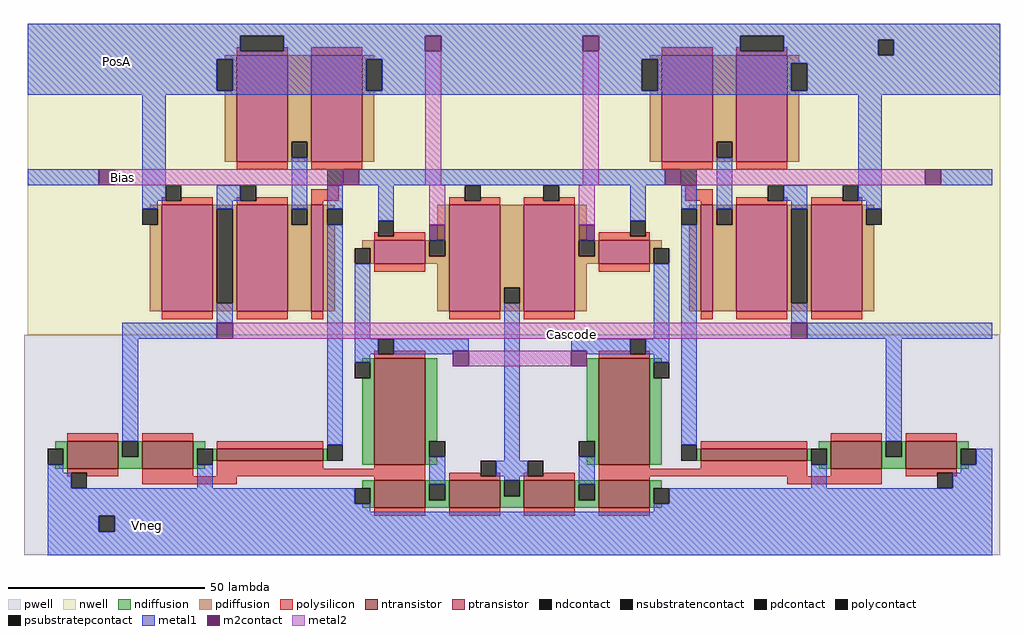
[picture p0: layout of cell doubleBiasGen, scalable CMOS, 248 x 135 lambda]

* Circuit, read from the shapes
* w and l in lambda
.subckt doubleBiasGen Bias Cascode PosA Vneg
M1 Cascode Vneg Vneg Vneg nfet w=7 l=13 m=2
M2 Vneg n1 Cascode Vneg nfet w=7 l=13 m=2
M3 Bias n1 Vneg Vneg nfet w=3 l=27 m=2
M4 n2 n1 Vneg Vneg nfet w=7 l=13
M5 n2 n1 n1 Vneg nfet w=27 l=13
M6 n3 n3 n2 Vneg nfet w=7 l=13
M7 n4 n3 n3 Vneg nfet w=7 l=13
M8 Vneg n1 n4 Vneg nfet w=7 l=13
M9 n1 n1 n4 Vneg nfet w=27 l=13
M10 Cascode PosA PosA PosA pfet w=27 l=13 m=2
M11 n5 Cascode Cascode PosA pfet w=27 l=13
M12 n5 PosA PosA PosA pfet w=27 l=13
M13 Bias Bias n5 PosA pfet w=27 l=3
M14 PosA Bias n5 PosA pfet w=27 l=13
M15 PosA Bias n1 PosA pfet w=6 l=13 m=2
M16 n3 Bias PosA PosA pfet w=27 l=13 m=2
M17 n6 Bias PosA PosA pfet w=27 l=13
M18 n6 Bias Bias PosA pfet w=27 l=3
M19 Cascode Cascode n6 PosA pfet w=27 l=13
M20 PosA PosA n6 PosA pfet w=27 l=13
.ends

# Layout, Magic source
magic
tech scmos
<< nwell >>
rect -28 -15 219 64
<< pwell >>
rect -29 -71 219 -15
<< ntransistor >>
rect -18 -49 -5 -42
rect 1 -49 14 -42
rect 20 -47 47 -44
rect 60 -48 73 -21
rect 117 -48 130 -21
rect 143 -47 170 -44
rect 176 -49 189 -42
rect 195 -49 208 -42
rect 60 -59 73 -52
rect 79 -59 92 -52
rect 98 -59 111 -52
rect 117 -59 130 -52
<< ptransistor >>
rect 25 29 38 56
rect 44 29 57 56
rect 133 29 146 56
rect 152 29 165 56
rect 6 -9 19 18
rect 25 -9 38 18
rect 44 -9 47 18
rect 60 3 73 9
rect 79 -9 92 18
rect 98 -9 111 18
rect 117 3 130 9
rect 143 -9 146 18
rect 152 -9 165 18
rect 171 -9 184 18
<< ndiffusion >>
rect 57 -22 60 -21
rect 59 -26 60 -22
rect -21 -44 -18 -42
rect -19 -48 -18 -44
rect -21 -49 -18 -48
rect -5 -46 -4 -42
rect 0 -46 1 -42
rect -5 -49 1 -46
rect 14 -44 17 -42
rect 14 -48 15 -44
rect 19 -47 20 -44
rect 47 -47 48 -44
rect 14 -49 17 -48
rect 57 -48 60 -26
rect 73 -42 76 -21
rect 114 -42 117 -21
rect 73 -46 74 -42
rect 116 -46 117 -42
rect 73 -48 76 -46
rect 114 -48 117 -46
rect 130 -22 133 -21
rect 130 -26 131 -22
rect 130 -48 133 -26
rect 173 -44 176 -42
rect 142 -47 143 -44
rect 170 -47 171 -44
rect 175 -48 176 -44
rect 173 -49 176 -48
rect 189 -46 190 -42
rect 194 -46 195 -42
rect 189 -49 195 -46
rect 208 -44 211 -42
rect 208 -48 209 -44
rect 208 -49 211 -48
rect 57 -54 60 -52
rect 59 -58 60 -54
rect 57 -59 60 -58
rect 73 -53 79 -52
rect 73 -57 74 -53
rect 78 -57 79 -53
rect 73 -59 79 -57
rect 92 -56 93 -52
rect 97 -56 98 -52
rect 92 -59 98 -56
rect 111 -53 117 -52
rect 111 -57 112 -53
rect 116 -57 117 -53
rect 111 -59 117 -57
rect 130 -54 133 -52
rect 130 -58 131 -54
rect 130 -59 133 -58
<< pdiffusion >>
rect 22 55 25 56
rect 24 47 25 55
rect 22 29 25 47
rect 38 34 44 56
rect 38 30 39 34
rect 43 30 44 34
rect 38 29 44 30
rect 57 55 60 56
rect 130 55 133 56
rect 57 47 58 55
rect 132 47 133 55
rect 57 29 60 47
rect 130 29 133 47
rect 146 34 152 56
rect 146 30 147 34
rect 151 30 152 34
rect 146 29 152 30
rect 165 54 168 56
rect 165 47 166 54
rect 165 29 168 47
rect 3 17 6 18
rect 5 13 6 17
rect 3 -9 6 13
rect 19 17 25 18
rect 19 -7 20 17
rect 24 -7 25 17
rect 19 -9 25 -7
rect 38 17 44 18
rect 38 13 39 17
rect 43 13 44 17
rect 38 -9 44 13
rect 47 17 50 18
rect 47 13 48 17
rect 47 -9 50 13
rect 76 9 79 18
rect 57 7 60 9
rect 59 3 60 7
rect 73 5 74 9
rect 78 5 79 9
rect 73 3 79 5
rect 76 -9 79 3
rect 92 -3 98 18
rect 92 -7 93 -3
rect 97 -7 98 -3
rect 92 -9 98 -7
rect 111 9 114 18
rect 140 17 143 18
rect 142 13 143 17
rect 111 5 112 9
rect 116 5 117 9
rect 111 3 117 5
rect 130 7 133 9
rect 130 3 131 7
rect 111 -9 114 3
rect 140 -9 143 13
rect 146 17 152 18
rect 146 13 147 17
rect 151 13 152 17
rect 146 -9 152 13
rect 165 17 171 18
rect 165 -7 166 17
rect 170 -7 171 17
rect 165 -9 171 -7
rect 184 17 187 18
rect 184 13 185 17
rect 184 -9 187 13
<< ndcontact >>
rect 55 -26 59 -22
rect -23 -48 -19 -44
rect -4 -46 0 -42
rect 15 -48 19 -44
rect 48 -47 52 -43
rect 74 -46 78 -42
rect 112 -46 116 -42
rect 131 -26 135 -22
rect 138 -47 142 -43
rect 171 -48 175 -44
rect 190 -46 194 -42
rect 209 -48 213 -44
rect 55 -58 59 -54
rect 74 -57 78 -53
rect 93 -56 97 -52
rect 112 -57 116 -53
rect 131 -58 135 -54
<< pdcontact >>
rect 20 47 24 55
rect 39 30 43 34
rect 58 47 62 55
rect 128 47 132 55
rect 147 30 151 34
rect 166 47 170 54
rect 1 13 5 17
rect 20 -7 24 17
rect 39 13 43 17
rect 48 13 52 17
rect 55 3 59 7
rect 74 5 78 9
rect 93 -7 97 -3
rect 138 13 142 17
rect 112 5 116 9
rect 131 3 135 7
rect 147 13 151 17
rect 166 -7 170 17
rect 185 13 189 17
<< psubstratepcontact >>
rect -10 -65 -6 -61
<< nsubstratencontact >>
rect 188 56 192 60
<< polysilicon >>
rect 25 57 26 58
rect 37 57 38 58
rect 25 56 38 57
rect 44 56 57 58
rect 133 56 146 58
rect 152 57 153 58
rect 164 57 165 58
rect 152 56 165 57
rect 25 27 38 29
rect 44 27 57 29
rect 133 27 146 29
rect 152 27 165 29
rect 6 19 7 20
rect 11 19 19 20
rect 6 18 19 19
rect 25 19 26 20
rect 48 22 51 23
rect 30 19 38 20
rect 25 18 38 19
rect 44 19 51 22
rect 79 19 83 20
rect 87 19 92 20
rect 44 18 47 19
rect 79 18 92 19
rect 98 19 103 20
rect 139 22 142 23
rect 107 19 111 20
rect 139 19 146 22
rect 98 18 111 19
rect 143 18 146 19
rect 152 19 160 20
rect 164 19 165 20
rect 152 18 165 19
rect 171 19 179 20
rect 183 19 184 20
rect 171 18 184 19
rect 60 10 61 11
rect 65 10 73 11
rect 60 9 73 10
rect 60 1 73 3
rect 117 10 125 11
rect 129 10 130 11
rect 117 9 130 10
rect 117 1 130 3
rect 6 -11 19 -9
rect 25 -11 38 -9
rect 44 -11 47 -9
rect 79 -11 92 -9
rect 98 -11 111 -9
rect 143 -11 146 -9
rect 152 -11 165 -9
rect 171 -11 184 -9
rect 60 -20 61 -19
rect 65 -20 73 -19
rect 60 -21 73 -20
rect 117 -20 125 -19
rect 129 -20 130 -19
rect 117 -21 130 -20
rect -18 -42 -5 -40
rect 1 -42 14 -40
rect 20 -44 47 -42
rect 20 -49 47 -47
rect 60 -49 73 -48
rect -18 -50 -5 -49
rect -18 -51 -17 -50
rect -13 -51 -5 -50
rect 1 -51 14 -49
rect 20 -51 73 -49
rect 1 -53 25 -51
rect 60 -52 73 -51
rect 79 -51 87 -50
rect 91 -51 92 -50
rect 79 -52 92 -51
rect 98 -51 99 -50
rect 176 -42 189 -40
rect 195 -42 208 -40
rect 143 -44 170 -42
rect 117 -49 130 -48
rect 143 -49 170 -47
rect 103 -51 111 -50
rect 98 -52 111 -51
rect 117 -51 170 -49
rect 176 -51 189 -49
rect 195 -50 208 -49
rect 195 -51 203 -50
rect 117 -52 130 -51
rect 165 -53 189 -51
rect 207 -51 208 -50
rect 60 -61 73 -59
rect 79 -61 92 -59
rect 98 -61 111 -59
rect 117 -61 130 -59
<< polycontact >>
rect 26 57 37 61
rect 153 57 164 61
rect 48 23 52 27
rect 138 23 142 27
rect 7 19 11 23
rect 26 19 30 23
rect 83 19 87 23
rect 103 19 107 23
rect 160 19 164 23
rect 179 19 183 23
rect 61 10 65 14
rect 125 10 129 14
rect 61 -20 65 -16
rect 125 -20 129 -16
rect -17 -54 -13 -50
rect 87 -51 91 -47
rect 99 -51 103 -47
rect 203 -54 207 -50
<< metal1 >>
rect -28 61 219 64
rect -28 57 26 61
rect 37 57 73 61
rect 77 57 113 61
rect 117 57 153 61
rect 164 60 219 61
rect 164 57 188 60
rect -28 56 188 57
rect 192 56 219 60
rect -28 55 219 56
rect -28 47 20 55
rect 24 47 58 55
rect 62 47 128 55
rect 132 54 219 55
rect 132 47 166 54
rect 170 47 219 54
rect -28 46 219 47
rect -28 23 -10 27
rect 1 19 7 46
rect 20 19 26 23
rect 1 17 5 19
rect 20 17 24 19
rect 39 17 43 30
rect 56 23 134 27
rect 48 17 52 23
rect 20 -12 24 -7
rect -4 -16 20 -12
rect -4 -42 0 -16
rect 48 -43 52 13
rect 61 14 65 23
rect 125 14 129 23
rect 138 17 142 23
rect 147 17 151 30
rect 164 19 170 23
rect 183 19 189 46
rect 204 23 217 27
rect 166 17 170 19
rect 55 -16 59 3
rect 55 -20 61 -16
rect 65 -19 84 -16
rect 65 -20 80 -19
rect 55 -22 59 -20
rect -23 -50 -19 -48
rect -23 -54 -17 -50
rect 15 -54 19 -48
rect 74 -53 78 -46
rect 93 -47 97 -7
rect 131 -16 135 3
rect 110 -19 125 -16
rect 114 -20 125 -19
rect 129 -20 135 -16
rect 131 -22 135 -20
rect 91 -51 99 -47
rect -23 -58 55 -54
rect 93 -52 97 -51
rect 112 -53 116 -46
rect 138 -43 142 13
rect 185 17 189 19
rect 166 -12 170 -7
rect 170 -16 217 -12
rect 190 -42 194 -16
rect 171 -54 175 -48
rect 213 -48 217 -44
rect 209 -50 217 -48
rect 207 -54 217 -50
rect -23 -60 59 -58
rect 135 -58 217 -54
rect 131 -60 217 -58
rect -23 -61 217 -60
rect -23 -65 -10 -61
rect -6 -65 217 -61
rect -23 -71 217 -65
<< m2contact >>
rect 73 57 77 61
rect 113 57 117 61
rect -10 23 -6 27
rect 52 23 56 27
rect 134 23 138 27
rect 20 -16 24 -12
rect 74 9 78 13
rect 112 9 116 13
rect 200 23 204 27
rect 80 -23 84 -19
rect 110 -23 114 -19
rect 166 -16 170 -12
<< metal2 >>
rect -6 23 52 27
rect 73 23 77 57
rect 113 23 117 57
rect 138 23 200 27
rect 74 13 78 23
rect 112 13 116 23
rect 24 -16 166 -12
rect 84 -23 110 -19
<< labels >>
rlabel metal2 110 -15 110 -15 7 Cascode
rlabel metal2 -4 25 -4 25 3 Bias
rlabel metal1 -7 54 -4 55 1 PosA
rlabel metal1 1 -64 4 -63 1 Vneg
<< end >>
